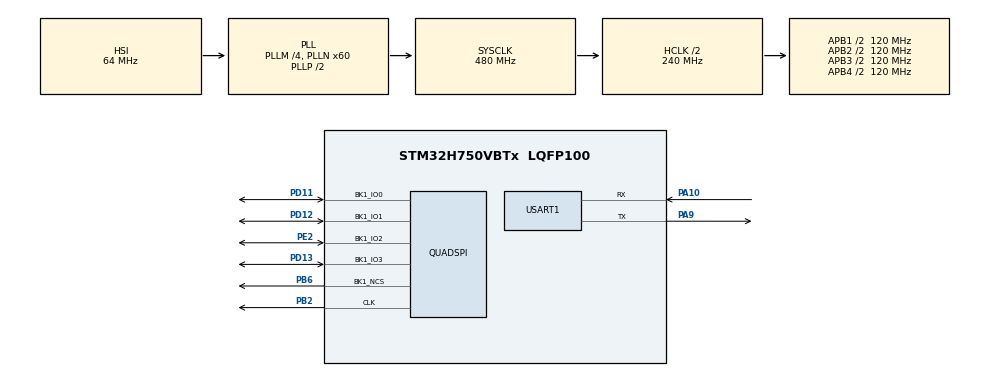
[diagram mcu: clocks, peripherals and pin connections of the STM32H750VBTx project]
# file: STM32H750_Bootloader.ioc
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Mcu.Family=STM32H7
Mcu.Name=STM32H750VBTx
Mcu.Package=LQFP100
NVIC.PriorityGroup=NVIC_PRIORITYGROUP_4
NVIC.USART1_IRQn=true\:0\:0\:false\:false\:true\:true\:true
PA10.Mode=Asynchronous
PA10.Signal=USART1_RX
PA9.Mode=Asynchronous
PA9.Signal=USART1_TX
PB2.GPIO_Speed=GPIO_SPEED_FREQ_VERY_HIGH
PB2.Mode=Single Bank 1
PB2.Signal=QUADSPI_CLK
PB6.GPIO_Speed=GPIO_SPEED_FREQ_VERY_HIGH
PB6.Mode=Single Bank 1
PB6.Signal=QUADSPI_BK1_NCS
PD11.GPIO_Speed=GPIO_SPEED_FREQ_VERY_HIGH
PD11.Mode=Single Bank 1
PD11.Signal=QUADSPI_BK1_IO0
PD12.GPIO_Speed=GPIO_SPEED_FREQ_VERY_HIGH
PD12.Mode=Single Bank 1
PD12.Signal=QUADSPI_BK1_IO1
PD13.GPIO_Speed=GPIO_SPEED_FREQ_VERY_HIGH
PD13.Mode=Single Bank 1
PD13.Signal=QUADSPI_BK1_IO3
PE2.GPIO_Speed=GPIO_SPEED_FREQ_VERY_HIGH
PE2.Mode=Single Bank 1
PE2.Signal=QUADSPI_BK1_IO2
ProjectManager.HeapSize=0x200
ProjectManager.StackSize=0x400
ProjectManager.TargetToolchain=STM32CubeIDE
QUADSPI.ChipSelectHighTime=QSPI_CS_HIGH_TIME_2_CYCLE
QUADSPI.ClockPrescaler=2
QUADSPI.FifoThreshold=4
QUADSPI.FlashSize=22
QUADSPI.SampleShifting=QSPI_SAMPLE_SHIFTING_HALFCYCLE
RCC.ADCFreq_Value=129000000
RCC.APB1Freq_Value=120000000
RCC.APB2Freq_Value=120000000
RCC.APB3Freq_Value=120000000
RCC.APB4Freq_Value=120000000
RCC.CortexFreq_Value=480000000
RCC.D1PPRE=RCC_APB3_DIV2
RCC.D2PPRE1=RCC_APB1_DIV2
RCC.D2PPRE2=RCC_APB2_DIV2
RCC.D3PPRE=RCC_APB4_DIV2
RCC.DIVM1=4
RCC.DIVN1=60
RCC.DIVQ1=3
RCC.HCLKFreq_Value=240000000
RCC.HPRE=RCC_HCLK_DIV2
RCC.PLL2FRACN=0
RCC.PLL3FRACN=0
RCC.PLLFRACN=0
RCC.PWR_Regulator_Voltage_Scale=PWR_REGULATOR_VOLTAGE_SCALE0
RCC.ProductRev=revV
RCC.SYSCLKFreq_VALUE=480000000
RCC.SYSCLKSource=RCC_SYSCLKSOURCE_PLLCLK
RCC.USBFreq_Value=320000000
USART1.VirtualMode-Asynchronous=VM_ASYNC
board=custom

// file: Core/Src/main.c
/* USER CODE BEGIN Header */
/**
  ******************************************************************************
  * @file           : main.c
  * @brief          : Main program body
  ******************************************************************************
  * @attention
  *
  * Copyright (c) 2026 STMicroelectronics.
  * All rights reserved.
  *
  * This software is licensed under terms that can be found in the LICENSE file
  * in the root directory of this software component.
  * If no LICENSE file comes with this software, it is provided AS-IS.
  *
  ******************************************************************************
  */
/* USER CODE END Header */
#include "main.h"
#include "quadspi.h"
#include "usart.h"
#include "gpio.h"

/* USER CODE BEGIN Includes */
#include "bootloader.h"
#include "external_flash.h"
#include "crc32.h"
#include <stdio.h>
/* USER CODE END Includes */

void SystemClock_Config(void);

/* USER CODE BEGIN 0 */
#if (CRC_TEST == 1)
static const uint8_t test[] = "123456789";
#endif
/* USER CODE END 0 */

int main(void)
{

  /* MCU Configuration--------------------------------------------------------*/

  /* Reset of all peripherals, Initializes the Flash interface and the Systick. */
  HAL_Init();

  /* Configure the system clock */
  SystemClock_Config();

  /* Initialize all configured peripherals */
  MX_GPIO_Init();
  MX_USART1_UART_Init();
  MX_QUADSPI_Init();
  /* USER CODE BEGIN 2 */

  // Small delay to ensure all peripherals are ready
  HAL_Delay(100);

  // ===== BOOTLOADER STARTUP BANNER =====
  UART_SendString(&huart1, "\r\n");
  UART_SendLine(&huart1, "==========================================");
  UART_SendLine(&huart1, "STM32H750 BOOTLOADER v1.0");
  UART_SendLine(&huart1, "128KB Internal Flash (HSI 480MHz)");
  UART_SendLine(&huart1, "QSPI XIP Mode (W25Q64 @ 0x90000000)");
  UART_SendLine(&huart1, "==========================================");
#if (CRC_TEST == 1)
  char msg[32];
  uint32_t crc;
  crc = CRC32_Calculate(test, 9);
  snprintf(msg, sizeof(msg), "CRC = 0x%08lX", (unsigned long)crc);
  UART_SendLine(&huart1, msg);
  UART_SendLine(&huart1, "Expected: 0xCBF43926");
  /* Expected: 0xCBF43926 */
#endif
  UART_SendString(&huart1, "\r\n");

  // ===== Initialize QSPI and verify W25Q64 =====
  UART_SendLine(&huart1, "[*] Initializing QSPI...");
  HAL_Delay(200);  /* Wait for QSPI to stabilize */

  /* Debug: Multiple retry attempts to read ID */
  uint8_t qspi_id[3] = {0, 0, 0};
  int8_t read_result = -1;
  int attempt_count = 0;

  for (attempt_count = 0; attempt_count < 3; attempt_count++)
  {
      memset(qspi_id, 0, 3);
      read_result = QSPI_Flash_ReadID(qspi_id);

      char debug_msg[80];

      snprintf(debug_msg, sizeof(debug_msg),
               "[DEBUG] Attempt %d: result=%d, ID: %02X %02X %02X",
               attempt_count + 1, read_result, qspi_id[0], qspi_id[1], qspi_id[2]);

      UART_SendLine(&huart1, debug_msg);

      /* If we got valid ID, break */
      if (read_result == 0 && qspi_id[0] == 0xEF) {
          break;
      }

      HAL_Delay(100);  /* Wait before retry */
  }

  if (QSPI_Flash_Init() != 0)
  {
      UART_SendLine(&huart1, "");
      UART_SendLine(&huart1, "[!] ERROR: QSPI init failed or W25Q64 not found");
      return -1;
  }
  UART_SendLine(&huart1, "[OK] W25Q64 detected (0xEF 0x40 0x17)");
  UART_SendString(&huart1, "\r\n");

  /*
   * NOTE: Memory-mapped mode is NOT enabled here.
   *
   * The QSPI peripheral can only be in one mode at a time:
   *   - Indirect mode  → erase / program (used by firmware update)
   *   - Memory-mapped  → XIP read (used to boot the application)
   *
   * If we enter memory-mapped mode now, the erase/program commands
   * in Bootloader_UpdateFirmware() will silently fail because the
   * peripheral is locked.  We therefore defer memory-mapped mode to
   * the normal-boot branch below, and let the update branch enter it
   * only when it needs to read back data for CRC verification.
   */

  uint32_t boot_timeout = HAL_GetTick() + 3000;

  uint8_t update_requested = 0;
  uint8_t update_cmd = 0;  /* Single-byte command buffer */

  while (HAL_GetTick() < boot_timeout)
  {
      /* Check for UPDATE command on UART (1byte, non-blocking) */
      if (HAL_UART_Receive(&huart1, &update_cmd, 1, 100) == HAL_OK)
      {
          if (update_cmd == CMD_UPDATE_START)
          {
              update_requested = 1;
              break;
          }
      }
      HAL_Delay(100);
  }

  if (update_requested)
  {
    /* Handle firmware update */
    UART_SendString(&huart1,"\r\n");
    if (Bootloader_UpdateFirmware() == 0)
    {
      UART_SendLine(&huart1, "Update successful, rebooting...");
      UART_SendString(&huart1, "\r\n");
      HAL_Delay(100);
      NVIC_SystemReset();  /* Reboot → bootloader loads new app */
    }
    else
    {
      UART_SendLine(&huart1, "Update failed, returning to bootloader");
    }
    UART_SendString(&huart1, "\r\n");
  }
  else
  {
    /* Boot to application — enter memory-mapped mode now for XIP */
    UART_SendLine(&huart1, "Timeout → booting to application @ 0x90000000");
    UART_SendString(&huart1, "\r\n");

    UART_SendLine(&huart1, "[*] Enabling memory-mapped mode (XIP)...");
    if (QSPI_Flash_EnterMemoryMappedMode() != 0)
    {
      UART_SendLine(&huart1, "[!] ERROR: Failed to enable memory-mapped mode");
      return -1;
    }
    UART_SendLine(&huart1, "[OK] Memory-mapped mode enabled @ 0x90000000");

#if (RSA_SECURE_BOOT_ENABLE == 1)
    /* --- RSA SIGNATURE VERIFICATION (before jump) --- */
    if (Bootloader_VerifyRSASignature() != 0)
    {
        UART_SendLine(&huart1, "[!] ERROR: RSA signature invalid!");
        UART_SendLine(&huart1, "[!] Refusing to boot — staying in bootloader");
        /* Send error code to host (if connected) */
        Bootloader_SendErrorCmd("RSA_FAIL", ERROR_RSA);
        /* Do NOT jump. Fall through to infinite loop (bootloader safe mode). */
    }
    else
    {
        UART_SendLine(&huart1, "[*] About to call Bootloader_JumpToApplication()...");
        HAL_Delay(100);
        Bootloader_JumpToApplication();
    }
#else
    UART_SendLine(&huart1, "[*] About to call Bootloader_JumpToApplication()...");
    HAL_Delay(100);

    Bootloader_JumpToApplication();
#endif

    /* If we reach here, jump failed */
    UART_SendLine(&huart1, "[!] ERROR: Jump to application failed!");
    UART_SendLine(&huart1, "[!] Falling back to bootloader...");
    /* Never returns */
  }

  /* Fallback: infinite loop if update fails */

  /* USER CODE END 2 */

  /* Infinite loop */
  while (1)
  {

    /* USER CODE BEGIN 3 */
    HAL_Delay(1000);
  }
  /* USER CODE END 3 */
}

void SystemClock_Config(void)
{
  RCC_OscInitTypeDef RCC_OscInitStruct = {0};
  RCC_ClkInitTypeDef RCC_ClkInitStruct = {0};

  /** Supply configuration update enable
  */
  HAL_PWREx_ConfigSupply(PWR_LDO_SUPPLY);
  /** Configure the main internal regulator output voltage
  */
  __HAL_PWR_VOLTAGESCALING_CONFIG(PWR_REGULATOR_VOLTAGE_SCALE0);

  while(!__HAL_PWR_GET_FLAG(PWR_FLAG_VOSRDY)) {}
  /** Initializes the RCC Oscillators according to the specified parameters
  * in the RCC_OscInitTypeDef structure.
  */
  RCC_OscInitStruct.OscillatorType = RCC_OSCILLATORTYPE_HSI;
  RCC_OscInitStruct.HSIState = RCC_HSI_DIV1;
  RCC_OscInitStruct.HSICalibrationValue = RCC_HSICALIBRATION_DEFAULT;
  RCC_OscInitStruct.PLL.PLLState = RCC_PLL_ON;
  RCC_OscInitStruct.PLL.PLLSource = RCC_PLLSOURCE_HSI;
  RCC_OscInitStruct.PLL.PLLM = 4;
  RCC_OscInitStruct.PLL.PLLN = 60;
  RCC_OscInitStruct.PLL.PLLP = 2;
  RCC_OscInitStruct.PLL.PLLQ = 3;
  RCC_OscInitStruct.PLL.PLLR = 2;
  RCC_OscInitStruct.PLL.PLLRGE = RCC_PLL1VCIRANGE_3;
  RCC_OscInitStruct.PLL.PLLVCOSEL = RCC_PLL1VCOWIDE;
  RCC_OscInitStruct.PLL.PLLFRACN = 0;
  if (HAL_RCC_OscConfig(&RCC_OscInitStruct) != HAL_OK)
  {
    Error_Handler();
  }
  /** Initializes the CPU, AHB and APB buses clocks
  */
  RCC_ClkInitStruct.ClockType = RCC_CLOCKTYPE_HCLK|RCC_CLOCKTYPE_SYSCLK
                              |RCC_CLOCKTYPE_PCLK1|RCC_CLOCKTYPE_PCLK2
                              |RCC_CLOCKTYPE_D3PCLK1|RCC_CLOCKTYPE_D1PCLK1;
  RCC_ClkInitStruct.SYSCLKSource = RCC_SYSCLKSOURCE_PLLCLK;
  RCC_ClkInitStruct.SYSCLKDivider = RCC_SYSCLK_DIV1;
  RCC_ClkInitStruct.AHBCLKDivider = RCC_HCLK_DIV2;
  RCC_ClkInitStruct.APB3CLKDivider = RCC_APB3_DIV2;
  RCC_ClkInitStruct.APB1CLKDivider = RCC_APB1_DIV2;
  RCC_ClkInitStruct.APB2CLKDivider = RCC_APB2_DIV2;
  RCC_ClkInitStruct.APB4CLKDivider = RCC_APB4_DIV2;

  if (HAL_RCC_ClockConfig(&RCC_ClkInitStruct, FLASH_LATENCY_4) != HAL_OK)
  {
    Error_Handler();
  }
}

/* USER CODE BEGIN 4 */
// UART interrupt callback (for future use in Stage 3)
void HAL_UART_RxCpltCallback(UART_HandleTypeDef *huart)
{
    if (huart->Instance == USART1) {
        // TODO: Stage 3 - Handle firmware upload commands
    }
}
/* USER CODE END 4 */

void Error_Handler(void)
{
  __disable_irq();
  while (1)
  {
  }
}
